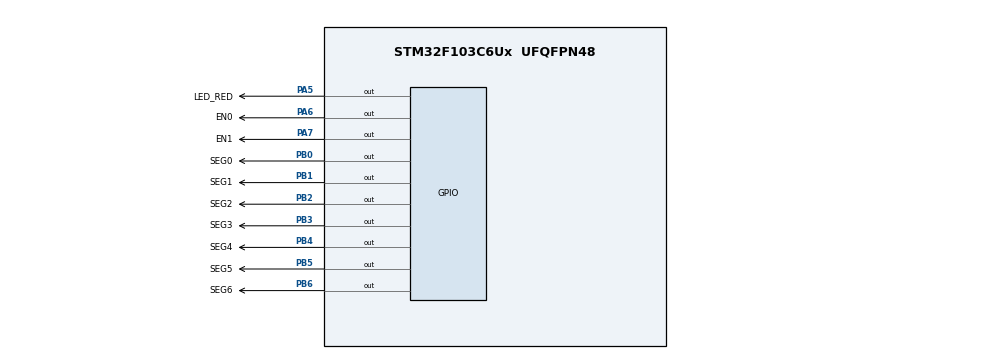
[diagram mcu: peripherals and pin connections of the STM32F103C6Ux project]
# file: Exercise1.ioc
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Mcu.Family=STM32F1
Mcu.Name=STM32F103C6Ux
Mcu.Package=UFQFPN48
NVIC.PriorityGroup=NVIC_PRIORITYGROUP_4
NVIC.TIM2_IRQn=true\:0\:0\:false\:false\:true\:true\:true
PA5.GPIO_Label=LED_RED
PA5.Signal=GPIO_Output
PA6.GPIO_Label=EN0
PA6.Signal=GPIO_Output
PA7.GPIO_Label=EN1
PA7.Signal=GPIO_Output
PB0.GPIO_Label=SEG0
PB0.Signal=GPIO_Output
PB1.GPIO_Label=SEG1
PB1.Signal=GPIO_Output
PB2.GPIO_Label=SEG2
PB2.Signal=GPIO_Output
PB3.GPIO_Label=SEG3
PB3.Signal=GPIO_Output
PB4.GPIO_Label=SEG4
PB4.Signal=GPIO_Output
PB5.GPIO_Label=SEG5
PB5.Signal=GPIO_Output
PB6.GPIO_Label=SEG6
PB6.Signal=GPIO_Output
ProjectManager.HeapSize=0x200
ProjectManager.StackSize=0x400
ProjectManager.TargetToolchain=STM32CubeIDE
RCC.APB1Freq_Value=8000000
RCC.APB2Freq_Value=8000000
TIM2.Period=9
TIM2.Prescaler=7999
VP_SYS_VS_ND.Mode=No_Debug
VP_TIM2_VS_ClockSourceINT.Mode=Internal
board=custom

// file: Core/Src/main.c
/* USER CODE BEGIN Header */
/**
  ******************************************************************************
  * @file           : main.c
  * @brief          : Main program body
  ******************************************************************************
  * @attention
  *
  * <h2><center>&copy; Copyright (c) 2025 STMicroelectronics.
  * All rights reserved.</center></h2>
  *
  * This software component is licensed by ST under BSD 3-Clause license,
  * the "License"; You may not use this file except in compliance with the
  * License. You may obtain a copy of the License at:
  *                        opensource.org/licenses/BSD-3-Clause
  *
  ******************************************************************************
  */
/* USER CODE END Header */
#include "main.h"

/* USER CODE BEGIN Includes */
#include "software_timer.h"
/* USER CODE END Includes */

TIM_HandleTypeDef htim2;

/* USER CODE BEGIN PV */
int segTable[10][7] = {
			{0,0,0,0,0,0,1},
			{1,0,0,1,1,1,1},
			{0,0,1,0,0,1,0},
			{0,0,0,0,1,1,0},
			{1,0,0,1,1,0,0},
			{0,1,0,0,1,0,0},
			{0,1,0,0,0,0,0},
			{0,0,0,1,1,1,1},
			{0,0,0,0,0,0,0},
			{0,0,0,0,1,0,0}
	};
int led_index = 0;
/* USER CODE END PV */

void SystemClock_Config(void);
static void MX_GPIO_Init(void);
static void MX_TIM2_Init(void);
/* USER CODE BEGIN PFP */
void display7SEG(int num);
/* USER CODE END PFP */

int main(void)
{

  /* MCU Configuration--------------------------------------------------------*/

  /* Reset of all peripherals, Initializes the Flash interface and the Systick. */
  HAL_Init();

  /* Configure the system clock */
  SystemClock_Config();

  /* Initialize all configured peripherals */
  MX_GPIO_Init();
  MX_TIM2_Init();
  /* USER CODE BEGIN 2 */
  HAL_TIM_Base_Start_IT(&htim2);
  /* USER CODE END 2 */

  /* Infinite loop */
  /* USER CODE BEGIN WHILE */
  setTimer(0, 100);
  setTimer(1, 50);
  while (1)
  {
	if(isTimerExpired(0)){
		setTimer(0, 100);
		HAL_GPIO_TogglePin(LED_RED_GPIO_Port, LED_RED_Pin);
	}
	if(isTimerExpired(1)){
	    setTimer(1, 50);
	    led_index = 1 - led_index;
	}
	 if(led_index == 0){
	     display7SEG(1);
	     HAL_GPIO_WritePin(EN0_GPIO_Port, EN0_Pin, GPIO_PIN_RESET);
	     HAL_GPIO_WritePin(EN1_GPIO_Port, EN1_Pin, GPIO_PIN_SET);
	 }
	 else {
	     display7SEG(2);
	     HAL_GPIO_WritePin(EN0_GPIO_Port, EN0_Pin, GPIO_PIN_SET);
	     HAL_GPIO_WritePin(EN1_GPIO_Port, EN1_Pin, GPIO_PIN_RESET);
	 }
    /* USER CODE END WHILE */

  }
}

void SystemClock_Config(void)
{
  RCC_OscInitTypeDef RCC_OscInitStruct = {0};
  RCC_ClkInitTypeDef RCC_ClkInitStruct = {0};

  /** Initializes the RCC Oscillators according to the specified parameters
  * in the RCC_OscInitTypeDef structure.
  */
  RCC_OscInitStruct.OscillatorType = RCC_OSCILLATORTYPE_HSI;
  RCC_OscInitStruct.HSIState = RCC_HSI_ON;
  RCC_OscInitStruct.HSICalibrationValue = RCC_HSICALIBRATION_DEFAULT;
  RCC_OscInitStruct.PLL.PLLState = RCC_PLL_NONE;
  if (HAL_RCC_OscConfig(&RCC_OscInitStruct) != HAL_OK)
  {
    Error_Handler();
  }
  /** Initializes the CPU, AHB and APB buses clocks
  */
  RCC_ClkInitStruct.ClockType = RCC_CLOCKTYPE_HCLK|RCC_CLOCKTYPE_SYSCLK
                              |RCC_CLOCKTYPE_PCLK1|RCC_CLOCKTYPE_PCLK2;
  RCC_ClkInitStruct.SYSCLKSource = RCC_SYSCLKSOURCE_HSI;
  RCC_ClkInitStruct.AHBCLKDivider = RCC_SYSCLK_DIV1;
  RCC_ClkInitStruct.APB1CLKDivider = RCC_HCLK_DIV1;
  RCC_ClkInitStruct.APB2CLKDivider = RCC_HCLK_DIV1;

  if (HAL_RCC_ClockConfig(&RCC_ClkInitStruct, FLASH_LATENCY_0) != HAL_OK)
  {
    Error_Handler();
  }
}

static void MX_TIM2_Init(void)
{

  TIM_ClockConfigTypeDef sClockSourceConfig = {0};
  TIM_MasterConfigTypeDef sMasterConfig = {0};

  htim2.Instance = TIM2;
  htim2.Init.Prescaler = 7999;
  htim2.Init.CounterMode = TIM_COUNTERMODE_UP;
  htim2.Init.Period = 9;
  htim2.Init.ClockDivision = TIM_CLOCKDIVISION_DIV1;
  htim2.Init.AutoReloadPreload = TIM_AUTORELOAD_PRELOAD_DISABLE;
  if (HAL_TIM_Base_Init(&htim2) != HAL_OK)
  {
    Error_Handler();
  }
  sClockSourceConfig.ClockSource = TIM_CLOCKSOURCE_INTERNAL;
  if (HAL_TIM_ConfigClockSource(&htim2, &sClockSourceConfig) != HAL_OK)
  {
    Error_Handler();
  }
  sMasterConfig.MasterOutputTrigger = TIM_TRGO_RESET;
  sMasterConfig.MasterSlaveMode = TIM_MASTERSLAVEMODE_DISABLE;
  if (HAL_TIMEx_MasterConfigSynchronization(&htim2, &sMasterConfig) != HAL_OK)
  {
    Error_Handler();
  }

}

static void MX_GPIO_Init(void)
{
  GPIO_InitTypeDef GPIO_InitStruct = {0};

  /* GPIO Ports Clock Enable */
  __HAL_RCC_GPIOA_CLK_ENABLE();
  __HAL_RCC_GPIOB_CLK_ENABLE();

  /*Configure GPIO pin Output Level */
  HAL_GPIO_WritePin(GPIOA, LED_RED_Pin|EN0_Pin|EN1_Pin, GPIO_PIN_RESET);

  /*Configure GPIO pin Output Level */
  HAL_GPIO_WritePin(GPIOB, SEG0_Pin|SEG1_Pin|SEG2_Pin|SEG3_Pin
                          |SEG4_Pin|SEG5_Pin|SEG6_Pin, GPIO_PIN_RESET);

  /*Configure GPIO pins : LED_RED_Pin EN0_Pin EN1_Pin */
  GPIO_InitStruct.Pin = LED_RED_Pin|EN0_Pin|EN1_Pin;
  GPIO_InitStruct.Mode = GPIO_MODE_OUTPUT_PP;
  GPIO_InitStruct.Pull = GPIO_NOPULL;
  GPIO_InitStruct.Speed = GPIO_SPEED_FREQ_LOW;
  HAL_GPIO_Init(GPIOA, &GPIO_InitStruct);

  /*Configure GPIO pins : SEG0_Pin SEG1_Pin SEG2_Pin SEG3_Pin
                           SEG4_Pin SEG5_Pin SEG6_Pin */
  GPIO_InitStruct.Pin = SEG0_Pin|SEG1_Pin|SEG2_Pin|SEG3_Pin
                          |SEG4_Pin|SEG5_Pin|SEG6_Pin;
  GPIO_InitStruct.Mode = GPIO_MODE_OUTPUT_PP;
  GPIO_InitStruct.Pull = GPIO_NOPULL;
  GPIO_InitStruct.Speed = GPIO_SPEED_FREQ_LOW;
  HAL_GPIO_Init(GPIOB, &GPIO_InitStruct);

}

/* USER CODE BEGIN 4 */
void HAL_TIM_PeriodElapsedCallback(TIM_HandleTypeDef *htim){
	timerRun();
}

void display7SEG(int num){
	if(num < 0 || num > 9) return;
	    HAL_GPIO_WritePin(SEG0_GPIO_Port, SEG0_Pin, segTable[num][0]);
	    HAL_GPIO_WritePin(SEG1_GPIO_Port, SEG1_Pin, segTable[num][1]);
	    HAL_GPIO_WritePin(SEG2_GPIO_Port, SEG2_Pin, segTable[num][2]);
	    HAL_GPIO_WritePin(SEG3_GPIO_Port, SEG3_Pin, segTable[num][3]);
	    HAL_GPIO_WritePin(SEG4_GPIO_Port, SEG4_Pin, segTable[num][4]);
	    HAL_GPIO_WritePin(SEG5_GPIO_Port, SEG5_Pin, segTable[num][5]);
	    HAL_GPIO_WritePin(SEG6_GPIO_Port, SEG6_Pin, segTable[num][6]);
}
/* USER CODE END 4 */

void Error_Handler(void)
{
  __disable_irq();
  while (1)
  {
  }
}

/************************ (C) COPYRIGHT STMicroelectronics *****END OF FILE****/
